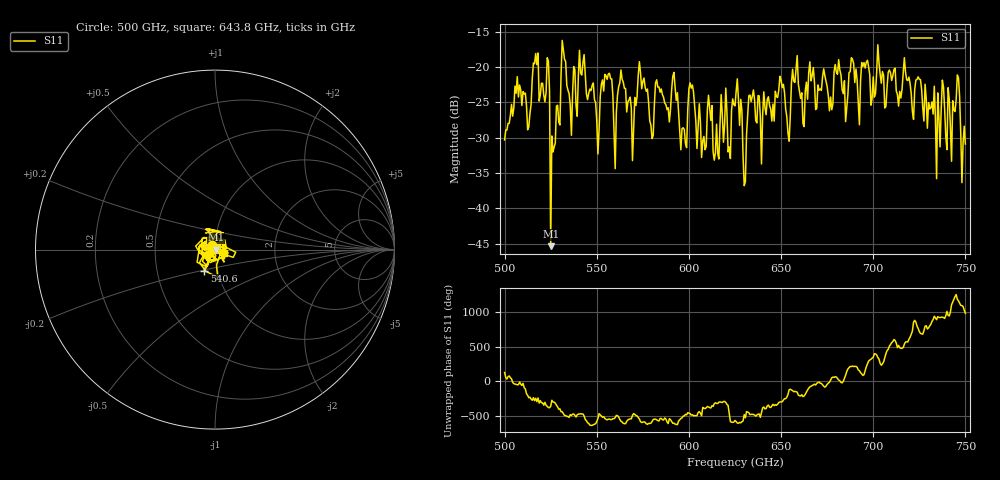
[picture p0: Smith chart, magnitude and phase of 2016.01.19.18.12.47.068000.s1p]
!Created with skrf (http://scikit-rf.org).
# GHz S RI R 50.0
!freq ReS11 ImS11
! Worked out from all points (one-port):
!   401 points, 500 GHz to 750 GHz, reference 50 ohm
!   lowest |S11| = -45.3 dB at 525 GHz (marker M1), VSWR 1.01, Z = 50.5 - j0.0577 ohm
!   |S11| at or under -10 dB: start of sweep to end of sweep
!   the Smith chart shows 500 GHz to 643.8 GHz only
!   S11 on the Smith chart (normalised r, x): 500 GHz: 0.97, +0.05; 540.6 GHz: 0.86, -0.21; 643.8 GHz: 1.11, -0.04
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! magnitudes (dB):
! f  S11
! 500 GHz  -30.3
! 506.9 GHz  -21.4
! 513.1 GHz  -28.5
! 516.9 GHz  -18.1
! 523.1 GHz  -18.7
! 525 GHz  -45.3
! 526.2 GHz  -32.0
! 531.2 GHz  -16.2
! 540.6 GHz  -17.6
! 550 GHz  -27.6
! 562.5 GHz  -22.3
! 593.8 GHz  -23.6
! 597.5 GHz  -28.9
! 601.2 GHz  -23.0
! 608.1 GHz  -29.8
! 611.2 GHz  -25.8
! 615 GHz  -28.1
! 625 GHz  -25.5
! 630.6 GHz  -36.2
! 633.8 GHz  -24.9
! 643.8 GHz  -25.4
! 653.8 GHz  -29.4
! 656.2 GHz  -20.3
! 687.5 GHz  -20.7
! 718.8 GHz  -21.9
! 735 GHz  -23.7
! 745.6 GHz  -21.1
! 750 GHz  -30.9
